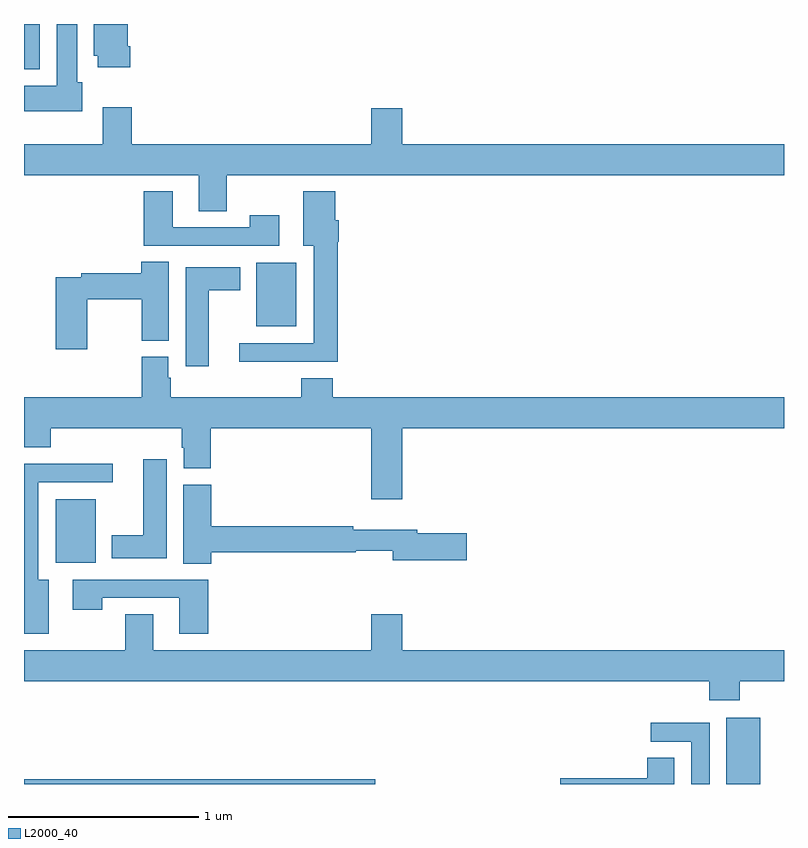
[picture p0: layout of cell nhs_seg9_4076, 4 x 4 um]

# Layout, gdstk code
import gdstk
lib = gdstk.Library(unit=1e-6, precision=1e-09)
def R(c, l, rs):  # rectangles x0, y0, x1, y1
    for r in rs: c.add(gdstk.rectangle(r[:2], r[2:], *l))
def P(c, l, *ps):  # polygons
    for p in ps: c.add(gdstk.Polygon(p, *l))
L2000_40 = (2000, 40)

nhs_seg9_4076 = lib.new_cell('nhs_seg9_4076')
R(nhs_seg9_4076, L2000_40, [(343,1242.5,344.848,1242.524), (346.697,1242.5,346.876,1242.85), (343.166,1243.664,343.378,1243.999), (344.222,1244.909,344.434,1245.244), (343,1246.262,343.084,1246.5)])
P(nhs_seg9_4076, L2000_40, [(343.559,1246.384),(343.546,1246.384),(343.546,1246.5),(343.367,1246.5),(343.367,1246.332),(343.388,1246.332),(343.388,1246.272),(343.559,1246.272)],
  [(343.306,1246.194),(343.279,1246.194),(343.279,1246.5),(343.172,1246.5),(343.172,1246.174),(343,1246.174),(343,1246.04),(343.306,1246.04)],
  [(344.067,1245.704),(347,1245.704),(347,1245.868),(344.992,1245.868),(344.992,1246.057),(344.828,1246.057),(344.828,1245.868),(343.568,1245.868),(343.568,1246.063),(343.415,1246.063),(343.415,1245.868),(343,1245.868),(343,1245.704),(343.919,1245.704),(343.919,1245.514),(344.067,1245.514)],
  [(344.651,1245.354),(344.656,1245.354),(344.656,1245.468),(344.638,1245.468),(344.638,1245.619),(344.471,1245.619),(344.471,1245.332),(344.525,1245.332),(344.525,1244.82),(344.133,1244.82),(344.133,1244.723),(344.651,1244.723)],
  [(344.344,1245.493),(344.188,1245.493),(344.188,1245.429),(343.783,1245.429),(343.783,1245.619),(343.631,1245.619),(343.631,1245.333),(344.344,1245.333)],
  [(343.332,1245.052),(343.621,1245.052),(343.621,1244.833),(343.762,1244.833),(343.762,1245.248),(343.616,1245.248),(343.616,1245.188),(343.3,1245.188),(343.3,1245.168),(343.166,1245.168),(343.166,1244.787),(343.332,1244.787)],
  [(343.972,1245.098),(344.137,1245.098),(344.137,1245.22),(343.85,1245.22),(343.85,1244.7),(343.972,1244.7)],
  [(344.992,1244.372),(347,1244.372),(347,1244.536),(344.624,1244.536),(344.624,1244.635),(344.459,1244.635),(344.459,1244.536),(343.772,1244.536),(343.772,1244.637),(343.759,1244.637),(343.759,1244.748),(343.619,1244.748),(343.619,1244.536),(343,1244.536),(343,1244.273),(343.142,1244.273),(343.142,1244.372),(343.829,1244.372),(343.829,1244.271),(343.841,1244.271),(343.841,1244.161),(343.982,1244.161),(343.982,1244.372),(344.828,1244.372),(344.828,1243.998),(344.992,1243.998)],
  [(343.75,1244.209),(343.628,1244.209),(343.628,1243.81),(343.463,1243.81),(343.463,1243.688),(343.75,1243.688)],
  [(343.129,1243.576),(343.075,1243.576),(343.075,1244.088),(343.468,1244.088),(343.468,1244.186),(343,1244.186),(343,1243.29),(343.129,1243.29)],
  [(343.985,1243.72),(344.746,1243.72),(344.746,1243.728),(344.942,1243.728),(344.942,1243.678),(345.331,1243.678),(345.331,1243.82),(345.07,1243.82),(345.07,1243.837),(344.732,1243.837),(344.732,1243.856),(343.985,1243.856),(343.985,1244.076),(343.838,1244.076),(343.838,1243.66),(343.985,1243.66)],
  [(343.97,1243.575),(343.257,1243.575),(343.257,1243.416),(343.413,1243.416),(343.413,1243.479),(343.817,1243.479),(343.817,1243.29),(343.97,1243.29)],
  [(346.767,1243.04),(347,1243.04),(347,1243.204),(344.992,1243.204),(344.992,1243.393),(344.828,1243.393),(344.828,1243.204),(343.681,1243.204),(343.681,1243.394),(343.534,1243.394),(343.534,1243.204),(343,1243.204),(343,1243.04),(346.607,1243.04),(346.607,1242.941),(346.767,1242.941)],
  [(346.608,1242.822),(346.299,1242.822),(346.299,1242.723),(346.512,1242.723),(346.512,1242.5),(346.608,1242.5)],
  [(346.423,1242.638),(346.28,1242.638),(346.28,1242.53),(345.822,1242.53),(345.822,1242.5),(346.423,1242.5)])

lib.write_gds('nhs_seg9_4076.gds')
